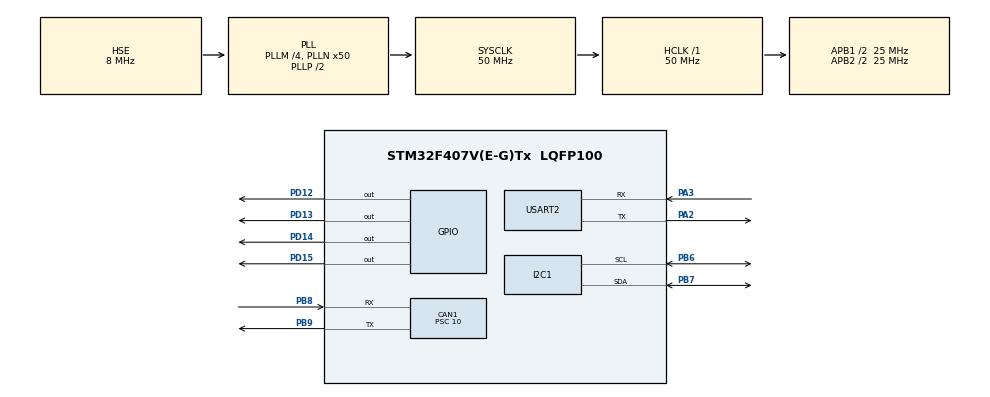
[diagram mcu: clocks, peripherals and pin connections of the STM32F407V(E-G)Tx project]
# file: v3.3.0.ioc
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CAN1.BS1=CAN_BS1_2TQ
CAN1.BS2=CAN_BS2_2TQ
CAN1.CalculateBaudRate=500000
CAN1.CalculateTimeBit=2000
CAN1.CalculateTimeQuantum=400.0
CAN1.Prescaler=10
IWDG.Prescaler=IWDG_PRESCALER_32
IWDG.Reload=3000
Mcu.Family=STM32F4
Mcu.Name=STM32F407V(E-G)Tx
Mcu.Package=LQFP100
NVIC.CAN1_RX0_IRQn=true\:0\:0\:false\:false\:true\:true\:true\:true
NVIC.PriorityGroup=NVIC_PRIORITYGROUP_0
PA2.Mode=Asynchronous
PA2.Signal=USART2_TX
PA3.Mode=Asynchronous
PA3.Signal=USART2_RX
PB6.Mode=I2C
PB6.Signal=I2C1_SCL
PB7.Mode=I2C
PB7.Signal=I2C1_SDA
PB8.Mode=CAN_Activate
PB8.Signal=CAN1_RX
PB9.Mode=CAN_Activate
PB9.Signal=CAN1_TX
PD12.Signal=GPIO_Output
PD13.Signal=GPIO_Output
PD14.Signal=GPIO_Output
PD15.Signal=GPIO_Output
PH0-OSC_IN.Mode=HSE-External-Oscillator
PH0-OSC_IN.Signal=RCC_OSC_IN
PH1-OSC_OUT.Mode=HSE-External-Oscillator
PH1-OSC_OUT.Signal=RCC_OSC_OUT
ProjectManager.HeapSize=0x200
ProjectManager.StackSize=0x400
ProjectManager.TargetToolchain=STM32CubeIDE
RCC.48MHZClocksFreq_Value=14285714.285714285
RCC.AHBFreq_Value=50000000
RCC.APB1CLKDivider=RCC_HCLK_DIV2
RCC.APB1Freq_Value=25000000
RCC.APB1TimFreq_Value=50000000
RCC.APB2CLKDivider=RCC_HCLK_DIV2
RCC.APB2Freq_Value=25000000
RCC.APB2TimFreq_Value=50000000
RCC.CortexFreq_Value=50000000
RCC.HCLKFreq_Value=50000000
RCC.HSE_VALUE=8000000
RCC.HSI_VALUE=16000000
RCC.LSE_VALUE=32768
RCC.PLLM=4
RCC.PLLN=50
RCC.PLLQ=7
RCC.PLLSourceVirtual=RCC_PLLSOURCE_HSE
RCC.SYSCLKFreq_VALUE=50000000
RCC.SYSCLKSource=RCC_SYSCLKSOURCE_PLLCLK
RCC.VCOOutputFreq_Value=100000000
USART2.VirtualMode=VM_ASYNC
VP_IWDG_VS_IWDG.Mode=IWDG_Activate
board=STM32F407G-DISC1

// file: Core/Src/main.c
/* USER CODE BEGIN Header */
/**
  ******************************************************************************
  * @file           : main.c
  * @brief          : Main program body
  ******************************************************************************
  * @attention
  *
  * Copyright (c) 2024 STMicroelectronics.
  * All rights reserved.
  *
  * This software is licensed under terms that can be found in the LICENSE file
  * in the root directory of this software component.
  * If no LICENSE file comes with this software, it is provided AS-IS.
  *
  ******************************************************************************
  */
/* USER CODE END Header */
#include "main.h"

/* USER CODE BEGIN Includes */
#include <stdio.h>
#include <string.h>
/* USER CODE END Includes */

CAN_HandleTypeDef hcan1;

I2C_HandleTypeDef hi2c1;

IWDG_HandleTypeDef hiwdg;

UART_HandleTypeDef huart2;

void SystemClock_Config(void);
static void MX_GPIO_Init(void);
static void MX_CAN1_Init(void);
static void MX_USART2_UART_Init(void);
static void MX_I2C1_Init(void);
static void MX_IWDG_Init(void);

/* USER CODE BEGIN 0 */

typedef enum {
	CAN_Message_Temperature 	= 0xA9,
	CAN_Message_Pressure 		= 0xAA,
	CAN_Message_Acceleration 	= 0xAB,
	CAN_Message_Battery 		= 0xAC,

}CAN_MessageID;

//volatile uint8_t RecievedId = 0x00;
//uint8_t RxData[8];
volatile uint8_t TempReady = 0;
volatile uint8_t AccelReady = 0;
volatile uint8_t PressureReady = 0;
volatile uint8_t BatteryReady = 0;

uint8_t PressureData[8];
uint8_t BatteryData[8];
uint8_t TempData[8];
uint8_t AccelData[8];
char str[32];

void HAL_CAN_RxFifo0MsgPendingCallback(CAN_HandleTypeDef *hcan)
{
    CAN_RxHeaderTypeDef RxHeader;
    uint8_t data[8];

    if(HAL_CAN_GetRxMessage(hcan, CAN_RX_FIFO0, &RxHeader, data) != HAL_OK)
        return;

    switch(RxHeader.StdId)
    {
        case CAN_Message_Temperature:
            memcpy(TempData, data, 8);
            TempReady = 1;
            break;

        case CAN_Message_Acceleration:
            memcpy(AccelData, data, 8);
            AccelReady = 1;
            break;

        case CAN_Message_Pressure:
            memcpy(PressureData, data, 8);
            PressureReady = 1;
            break;

        case CAN_Message_Battery:
            memcpy(BatteryData, data, 8);
            BatteryReady = 1;
            break;
    }
}

uint8_t IWDG_IsReset(){
	if(RCC->CSR & (1<<29))
		return 1;
	return 0;
}

/* USER CODE END 0 */

int main(void)
{

  /* USER CODE BEGIN 1 */
	int16_t temp;
	int8_t sign;
	 char str[64];
  /* USER CODE END 1 */

  /* MCU Configuration--------------------------------------------------------*/

  /* Reset of all peripherals, Initializes the Flash interface and the Systick. */
  HAL_Init();

  /* Configure the system clock */
  SystemClock_Config();

  /* Initialize all configured peripherals */
  MX_GPIO_Init();
  MX_CAN1_Init();
  MX_USART2_UART_Init();
  MX_I2C1_Init();
 MX_IWDG_Init();
  /* USER CODE BEGIN 2 */

  if(IWDG_IsReset()){
	  for(uint8_t i=0; i<10; i++){
		  HAL_GPIO_TogglePin(GPIOD, GPIO_PIN_14);
		  HAL_Delay(200);
	  }
  }

  HAL_CAN_Start(&hcan1);char msg[80];

  HAL_CAN_ActivateNotification(&hcan1, CAN_IT_RX_FIFO0_MSG_PENDING);

  /* USER CODE END 2 */

  /* Infinite loop */
  /* USER CODE BEGIN WHILE */
  while (1)
  {

	  if(TempReady)
	  {
	      TempReady = 0;

	      uint8_t humidity = TempData[0];
	      uint8_t temperature = TempData[2];

	      sprintf(str,
	              "{\"type\":\"temp\",\"humidity\":%u,\"temperature\":%u}\r\n",
	              humidity,
	              temperature);

	      HAL_UART_Transmit(&huart2,
	                        (uint8_t *)str,
	                        strlen(str),
	                        HAL_MAX_DELAY);
	  }

	  if(AccelReady)
	  {
	      AccelReady = 0;

	      int16_t x = (AccelData[1] << 8) | AccelData[0];
	      int16_t y = (AccelData[3] << 8) | AccelData[2];
	      int16_t z = (AccelData[5] << 8) | AccelData[4];

	      sprintf(str,
	              "{\"type\":\"accel\",\"x\":%d,\"y\":%d,\"z\":%d}\r\n",
	              x, y, z);

	      HAL_UART_Transmit(&huart2,
	                        (uint8_t *)str,
	                        strlen(str),
	                        HAL_MAX_DELAY);
	  }
	  if(PressureReady)
	  {
	      PressureReady = 0;

	      uint32_t pressure;

	      pressure = ((uint32_t)PressureData[0] << 16) |
	                 ((uint32_t)PressureData[1] << 8)  |
	                 ((uint32_t)PressureData[2]);

	      sprintf(str,
	              "{\"type\":\"pressure\",\"value\":%lu}\r\n",
	              pressure);

	      HAL_UART_Transmit(&huart2,
	                        (uint8_t *)str,
	                        strlen(str),
	                        HAL_MAX_DELAY);
	  }
	  if(BatteryReady)
	  {
	      BatteryReady = 0;

	      uint16_t voltage_mV;
	      int16_t current_mA;

	      voltage_mV =
	              (BatteryData[0] << 8) |
	               BatteryData[1];

	      current_mA =
	              (BatteryData[2] << 8) |
	               BatteryData[3];

	      sprintf(str,"{\"type\":\"battery\",\"voltage\":%.3f,\"current\":%.3f}\r\n",voltage_mV/1000.0,current_mA/1000.0);

	      HAL_UART_Transmit(&huart2,
	                        (uint8_t *)str,
	                        strlen(str),
	                        HAL_MAX_DELAY);
	  }

HAL_IWDG_Refresh(&hiwdg);

  }
  /* USER CODE END 3 */
}

void SystemClock_Config(void)
{
  RCC_OscInitTypeDef RCC_OscInitStruct = {0};
  RCC_ClkInitTypeDef RCC_ClkInitStruct = {0};

  /** Configure the main internal regulator output voltage
  */
  __HAL_RCC_PWR_CLK_ENABLE();
  __HAL_PWR_VOLTAGESCALING_CONFIG(PWR_REGULATOR_VOLTAGE_SCALE1);

  /** Initializes the RCC Oscillators according to the specified parameters
  * in the RCC_OscInitTypeDef structure.
  */
  RCC_OscInitStruct.OscillatorType = RCC_OSCILLATORTYPE_LSI|RCC_OSCILLATORTYPE_HSE;
  RCC_OscInitStruct.HSEState = RCC_HSE_ON;
  RCC_OscInitStruct.LSIState = RCC_LSI_ON;
  RCC_OscInitStruct.PLL.PLLState = RCC_PLL_ON;
  RCC_OscInitStruct.PLL.PLLSource = RCC_PLLSOURCE_HSE;
  RCC_OscInitStruct.PLL.PLLM = 4;
  RCC_OscInitStruct.PLL.PLLN = 50;
  RCC_OscInitStruct.PLL.PLLP = RCC_PLLP_DIV2;
  RCC_OscInitStruct.PLL.PLLQ = 7;
  if (HAL_RCC_OscConfig(&RCC_OscInitStruct) != HAL_OK)
  {
    Error_Handler();
  }

  /** Initializes the CPU, AHB and APB buses clocks
  */
  RCC_ClkInitStruct.ClockType = RCC_CLOCKTYPE_HCLK|RCC_CLOCKTYPE_SYSCLK
                              |RCC_CLOCKTYPE_PCLK1|RCC_CLOCKTYPE_PCLK2;
  RCC_ClkInitStruct.SYSCLKSource = RCC_SYSCLKSOURCE_PLLCLK;
  RCC_ClkInitStruct.AHBCLKDivider = RCC_SYSCLK_DIV1;
  RCC_ClkInitStruct.APB1CLKDivider = RCC_HCLK_DIV2;
  RCC_ClkInitStruct.APB2CLKDivider = RCC_HCLK_DIV2;

  if (HAL_RCC_ClockConfig(&RCC_ClkInitStruct, FLASH_LATENCY_1) != HAL_OK)
  {
    Error_Handler();
  }
}

static void MX_CAN1_Init(void)
{

  hcan1.Instance = CAN1;
  hcan1.Init.Prescaler = 10;
  hcan1.Init.Mode = CAN_MODE_NORMAL;
  hcan1.Init.SyncJumpWidth = CAN_SJW_1TQ;
  hcan1.Init.TimeSeg1 = CAN_BS1_2TQ;
  hcan1.Init.TimeSeg2 = CAN_BS2_2TQ;
  hcan1.Init.TimeTriggeredMode = DISABLE;
  hcan1.Init.AutoBusOff = DISABLE;
  hcan1.Init.AutoWakeUp = DISABLE;
  hcan1.Init.AutoRetransmission = DISABLE;
  hcan1.Init.ReceiveFifoLocked = DISABLE;
  hcan1.Init.TransmitFifoPriority = DISABLE;
  if (HAL_CAN_Init(&hcan1) != HAL_OK)
  {
    Error_Handler();
  }
  /* USER CODE BEGIN CAN1_Init 2 */

  CAN_FilterTypeDef canfilterconfig;

  canfilterconfig.FilterActivation = CAN_FILTER_ENABLE;
//  canfilterconfig.FilterBank = 18;
  canfilterconfig.FilterBank = 5;
  canfilterconfig.FilterFIFOAssignment = CAN_FILTER_FIFO0;
  canfilterconfig.FilterIdHigh = 0x0000; //0x1500
//  canfilterconfig.FilterIdHigh = 0x0AA<<5;
  canfilterconfig.FilterIdLow = 0x0000;
  canfilterconfig.FilterMode = CAN_FILTERMODE_IDMASK;
  canfilterconfig.FilterMaskIdHigh = 0x0000;
//  canfilterconfig.FilterMaskIdHigh = 0x0A8<<5;
  canfilterconfig.FilterMaskIdLow = 0x0000;
  canfilterconfig.FilterScale = CAN_FILTERSCALE_32BIT;
  canfilterconfig.SlaveStartFilterBank = 9;
//  canfilterconfig.SlaveStartFilterBank = 40;

  HAL_CAN_ConfigFilter(&hcan1, &canfilterconfig);

  /* USER CODE END CAN1_Init 2 */

}

static void MX_I2C1_Init(void)
{

  hi2c1.Instance = I2C1;
  hi2c1.Init.ClockSpeed = 100000;
  hi2c1.Init.DutyCycle = I2C_DUTYCYCLE_2;
  hi2c1.Init.OwnAddress1 = 0;
  hi2c1.Init.AddressingMode = I2C_ADDRESSINGMODE_7BIT;
  hi2c1.Init.DualAddressMode = I2C_DUALADDRESS_DISABLE;
  hi2c1.Init.OwnAddress2 = 0;
  hi2c1.Init.GeneralCallMode = I2C_GENERALCALL_DISABLE;
  hi2c1.Init.NoStretchMode = I2C_NOSTRETCH_DISABLE;
  if (HAL_I2C_Init(&hi2c1) != HAL_OK)
  {
    Error_Handler();
  }

}

static void MX_IWDG_Init(void)
{

  hiwdg.Instance = IWDG;
  hiwdg.Init.Prescaler = IWDG_PRESCALER_32;
  hiwdg.Init.Reload = 3000;
  if (HAL_IWDG_Init(&hiwdg) != HAL_OK)
  {
    Error_Handler();
  }

}

static void MX_USART2_UART_Init(void)
{

  huart2.Instance = USART2;
  huart2.Init.BaudRate = 115200;
  huart2.Init.WordLength = UART_WORDLENGTH_8B;
  huart2.Init.StopBits = UART_STOPBITS_1;
  huart2.Init.Parity = UART_PARITY_NONE;
  huart2.Init.Mode = UART_MODE_TX_RX;
  huart2.Init.HwFlowCtl = UART_HWCONTROL_NONE;
  huart2.Init.OverSampling = UART_OVERSAMPLING_16;
  if (HAL_UART_Init(&huart2) != HAL_OK)
  {
    Error_Handler();
  }

}

static void MX_GPIO_Init(void)
{
  GPIO_InitTypeDef GPIO_InitStruct = {0};

  /* GPIO Ports Clock Enable */
  __HAL_RCC_GPIOH_CLK_ENABLE();
  __HAL_RCC_GPIOA_CLK_ENABLE();
  __HAL_RCC_GPIOD_CLK_ENABLE();
  __HAL_RCC_GPIOB_CLK_ENABLE();

  /*Configure GPIO pin Output Level */
  HAL_GPIO_WritePin(GPIOD, GPIO_PIN_12|GPIO_PIN_13|GPIO_PIN_14|GPIO_PIN_15, GPIO_PIN_RESET);

  /*Configure GPIO pins : PD12 PD13 PD14 PD15 */
  GPIO_InitStruct.Pin = GPIO_PIN_12|GPIO_PIN_13|GPIO_PIN_14|GPIO_PIN_15;
  GPIO_InitStruct.Mode = GPIO_MODE_OUTPUT_PP;
  GPIO_InitStruct.Pull = GPIO_NOPULL;
  GPIO_InitStruct.Speed = GPIO_SPEED_FREQ_LOW;
  HAL_GPIO_Init(GPIOD, &GPIO_InitStruct);

}

void Error_Handler(void)
{
  __disable_irq();
  while (1)
  {
  }
}
